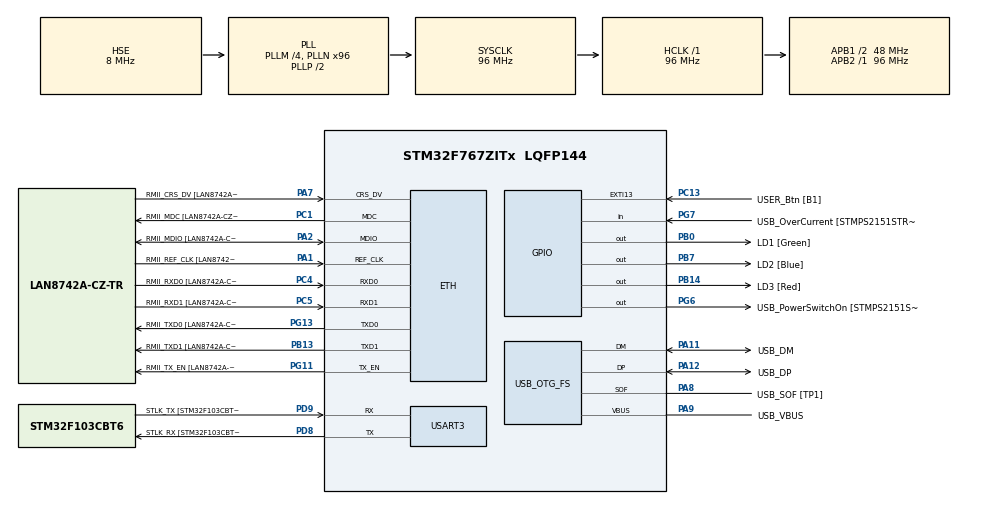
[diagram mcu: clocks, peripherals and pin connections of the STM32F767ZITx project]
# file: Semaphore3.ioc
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ETH.MediaInterface=HAL_ETH_RMII_MODE
ETH.PHY_Name=LAN8742A_PHY_ADDRESS
ETH.PHY_Value=0
ETH.PhyAddress=0
FREERTOS.CountingSemaphores01=myCountingSem01,2,Dynamic,NULL,2
FREERTOS.Tasks01=defaultTask,24,128,StartDefaultTask,Default,NULL,Dynamic,NULL,NULL;myTask02,24,128,StartTask02,Default,NULL,Dynamic,NULL,NULL;myTask03,24,128,StartTask03,Default,NULL,Dynamic,NULL,NULL
FREERTOS.configUSE_NEWLIB_REENTRANT=1
Mcu.Family=STM32F7
Mcu.Name=STM32F767ZITx
Mcu.Package=LQFP144
NVIC.PriorityGroup=NVIC_PRIORITYGROUP_4
NVIC.TIM6_DAC_IRQn=true\:15\:0\:false\:false\:true\:false\:false\:true\:true
NVIC.TimeBase=TIM6_DAC_IRQn
NVIC.TimeBaseIP=TIM6
PA1.GPIO_Label=RMII_REF_CLK [LAN8742A-CZ-TR_REFCLK0]
PA1.Mode=RMII
PA1.Signal=ETH_REF_CLK
PA10.GPIO_Label=USB_ID
PA10.Signal=USB_OTG_FS_ID
PA11.GPIO_Label=USB_DM
PA11.Mode=Device_Only
PA11.Signal=USB_OTG_FS_DM
PA12.GPIO_Label=USB_DP
PA12.Mode=Device_Only
PA12.Signal=USB_OTG_FS_DP
PA13.GPIO_Label=TMS
PA13.Mode=Serial_Wire
PA13.Signal=SYS_JTMS-SWDIO
PA14.GPIO_Label=TCK
PA14.Mode=Serial_Wire
PA14.Signal=SYS_JTCK-SWCLK
PA2.GPIO_Label=RMII_MDIO [LAN8742A-CZ-TR_MDIO]
PA2.Mode=RMII
PA2.Signal=ETH_MDIO
PA7.GPIO_Label=RMII_CRS_DV [LAN8742A-CZ-TR_CRS_DV]
PA7.Mode=RMII
PA7.Signal=ETH_CRS_DV
PA8.GPIO_Label=USB_SOF [TP1]
PA8.Mode=Activate_SOF_FS
PA8.Signal=USB_OTG_FS_SOF
PA9.GPIO_Label=USB_VBUS
PA9.Mode=Activate_VBUS
PA9.Signal=USB_OTG_FS_VBUS
PB0.GPIO_Label=LD1 [Green]
PB0.Signal=GPIO_Output
PB13.GPIO_Label=RMII_TXD1 [LAN8742A-CZ-TR_TXD1]
PB13.Mode=RMII
PB13.Signal=ETH_TXD1
PB14.GPIO_Label=LD3 [Red]
PB14.Signal=GPIO_Output
PB3.GPIO_Label=SWO
PB3.Signal=SYS_JTDO-SWO
PB7.GPIO_Label=LD2 [Blue]
PB7.Signal=GPIO_Output
PC1.GPIO_Label=RMII_MDC [LAN8742A-CZ-TR_MDC]
PC1.Mode=RMII
PC1.Signal=ETH_MDC
PC13.GPIO_Label=USER_Btn [B1]
PC13.Signal=GPXTI13
PC14/OSC32_IN.Mode=LSE-External-Oscillator
PC14/OSC32_IN.Signal=RCC_OSC32_IN
PC15/OSC32_OUT.Mode=LSE-External-Oscillator
PC15/OSC32_OUT.Signal=RCC_OSC32_OUT
PC4.GPIO_Label=RMII_RXD0 [LAN8742A-CZ-TR_RXD0]
PC4.Mode=RMII
PC4.Signal=ETH_RXD0
PC5.GPIO_Label=RMII_RXD1 [LAN8742A-CZ-TR_RXD1]
PC5.Mode=RMII
PC5.Signal=ETH_RXD1
PD8.GPIO_Label=STLK_RX [STM32F103CBT6_PA3]
PD8.Mode=Asynchronous
PD8.Signal=USART3_TX
PD9.GPIO_Label=STLK_TX [STM32F103CBT6_PA2]
PD9.Mode=Asynchronous
PD9.Signal=USART3_RX
PG11.GPIO_Label=RMII_TX_EN [LAN8742A-CZ-TR_TXEN]
PG11.Mode=RMII
PG11.Signal=ETH_TX_EN
PG13.GPIO_Label=RMII_TXD0 [LAN8742A-CZ-TR_TXD0]
PG13.Mode=RMII
PG13.Signal=ETH_TXD0
PG6.GPIO_Label=USB_PowerSwitchOn [STMPS2151STR_EN]
PG6.Signal=GPIO_Output
PG7.GPIO_Label=USB_OverCurrent [STMPS2151STR_FAULT]
PG7.Signal=GPIO_Input
PH0/OSC_IN.GPIO_Label=MCO [STM32F103CBT6_PA8]
PH0/OSC_IN.Mode=HSE-External-Clock-Source
PH0/OSC_IN.Signal=RCC_OSC_IN
PH1/OSC_OUT.Mode=HSE-External-Clock-Source
PH1/OSC_OUT.Signal=RCC_OSC_OUT
ProjectManager.HeapSize=0x200
ProjectManager.StackSize=0x400
ProjectManager.TargetToolchain=STM32CubeIDE
RCC.48MHZClocksFreq_Value=24000000
RCC.AHBFreq_Value=96000000
RCC.APB1CLKDivider=RCC_HCLK_DIV2
RCC.APB1Freq_Value=48000000
RCC.APB1TimFreq_Value=96000000
RCC.APB2Freq_Value=96000000
RCC.APB2TimFreq_Value=96000000
RCC.CortexFreq_Value=96000000
RCC.HCLKFreq_Value=96000000
RCC.HSE_VALUE=8000000
RCC.HSI_VALUE=16000000
RCC.PLLM=4
RCC.PLLMUL=RCC_PLL_MUL9
RCC.PLLN=96
RCC.PLLQ=4
RCC.PRESCALERUSB=RCC_USBCLKSOURCE_PLL_DIV1_5
RCC.SYSCLKFreq_VALUE=96000000
RCC.SYSCLKSource=RCC_SYSCLKSOURCE_PLLCLK
RCC.SYSCLKSourceVirtual=RCC_SYSCLKSOURCE_PLLCLK
RCC.USBFreq_Value=48000000
RCC.VCOOutputFreq_Value=192000000
USART3.VirtualMode-Asynchronous=VM_ASYNC
USB_OTG_FS.VirtualMode=Device_Only
VP_FREERTOS_VS_CMSIS_V2.Mode=CMSIS_V2
VP_SYS_VS_tim6.Mode=TIM6
board=NUCLEO-F767ZI

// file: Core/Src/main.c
/* USER CODE BEGIN Header */
/**
  ******************************************************************************
  * @file           : main.c
  * @brief          : Main program body
  ******************************************************************************
  * @attention
  *
  * Copyright (c) 2025 STMicroelectronics.
  * All rights reserved.
  *
  * This software is licensed under terms that can be found in the LICENSE file
  * in the root directory of this software component.
  * If no LICENSE file comes with this software, it is provided AS-IS.
  *
  ******************************************************************************
  */
/* USER CODE END Header */
#include "main.h"
#include "string.h"
#include "cmsis_os.h"

#if defined ( __ICCARM__ ) /*!< IAR Compiler */
#pragma location=0x2007c000
ETH_DMADescTypeDef  DMARxDscrTab[ETH_RX_DESC_CNT]; /* Ethernet Rx DMA Descriptors */
#pragma location=0x2007c0a0
ETH_DMADescTypeDef  DMATxDscrTab[ETH_TX_DESC_CNT]; /* Ethernet Tx DMA Descriptors */

#elif defined ( __CC_ARM )  /* MDK ARM Compiler */

__attribute__((at(0x2007c000))) ETH_DMADescTypeDef  DMARxDscrTab[ETH_RX_DESC_CNT]; /* Ethernet Rx DMA Descriptors */
__attribute__((at(0x2007c0a0))) ETH_DMADescTypeDef  DMATxDscrTab[ETH_TX_DESC_CNT]; /* Ethernet Tx DMA Descriptors */

#elif defined ( __GNUC__ ) /* GNU Compiler */

ETH_DMADescTypeDef DMARxDscrTab[ETH_RX_DESC_CNT] __attribute__((section(".RxDecripSection"))); /* Ethernet Rx DMA Descriptors */
ETH_DMADescTypeDef DMATxDscrTab[ETH_TX_DESC_CNT] __attribute__((section(".TxDecripSection")));   /* Ethernet Tx DMA Descriptors */
#endif

ETH_TxPacketConfig TxConfig;

ETH_HandleTypeDef heth;

UART_HandleTypeDef huart3;

PCD_HandleTypeDef hpcd_USB_OTG_FS;

/* Definitions for defaultTask */
osThreadId_t defaultTaskHandle;
const osThreadAttr_t defaultTask_attributes = {
  .name = "defaultTask",
  .stack_size = 128 * 4,
  .priority = (osPriority_t) osPriorityNormal,
};
/* Definitions for myTask02 */
osThreadId_t myTask02Handle;
const osThreadAttr_t myTask02_attributes = {
  .name = "myTask02",
  .stack_size = 128 * 4,
  .priority = (osPriority_t) osPriorityNormal,
};
/* Definitions for myTask03 */
osThreadId_t myTask03Handle;
const osThreadAttr_t myTask03_attributes = {
  .name = "myTask03",
  .stack_size = 128 * 4,
  .priority = (osPriority_t) osPriorityNormal,
};
/* Definitions for myCountingSem01 */
osSemaphoreId_t myCountingSem01Handle;
const osSemaphoreAttr_t myCountingSem01_attributes = {
  .name = "myCountingSem01"
};

void SystemClock_Config(void);
static void MX_GPIO_Init(void);
static void MX_ETH_Init(void);
static void MX_USART3_UART_Init(void);
static void MX_USB_OTG_FS_PCD_Init(void);
void StartDefaultTask(void *argument);
void StartTask02(void *argument);
void StartTask03(void *argument);

int main(void)
{

  /* MCU Configuration--------------------------------------------------------*/

  /* Reset of all peripherals, Initializes the Flash interface and the Systick. */
  HAL_Init();

  /* Configure the system clock */
  SystemClock_Config();

  /* Initialize all configured peripherals */
  MX_GPIO_Init();
  MX_ETH_Init();
  MX_USART3_UART_Init();
  MX_USB_OTG_FS_PCD_Init();

  /* Init scheduler */
  osKernelInitialize();

  /* Create the semaphores(s) */
  /* creation of myCountingSem01 */
  myCountingSem01Handle = osSemaphoreNew(2, 0, &myCountingSem01_attributes);

  /* Create the thread(s) */
  /* creation of defaultTask */
  defaultTaskHandle = osThreadNew(StartDefaultTask, NULL, &defaultTask_attributes);

  /* creation of myTask02 */
  myTask02Handle = osThreadNew(StartTask02, NULL, &myTask02_attributes);

  /* creation of myTask03 */
  myTask03Handle = osThreadNew(StartTask03, NULL, &myTask03_attributes);

  /* Start scheduler */
  osKernelStart();

  /* We should never get here as control is now taken by the scheduler */

  /* Infinite loop */
  while (1)
  {

  }
}

void SystemClock_Config(void)
{
  RCC_OscInitTypeDef RCC_OscInitStruct = {0};
  RCC_ClkInitTypeDef RCC_ClkInitStruct = {0};

  /** Configure LSE Drive Capability
  */
  HAL_PWR_EnableBkUpAccess();

  /** Configure the main internal regulator output voltage
  */
  __HAL_RCC_PWR_CLK_ENABLE();
  __HAL_PWR_VOLTAGESCALING_CONFIG(PWR_REGULATOR_VOLTAGE_SCALE3);

  /** Initializes the RCC Oscillators according to the specified parameters
  * in the RCC_OscInitTypeDef structure.
  */
  RCC_OscInitStruct.OscillatorType = RCC_OSCILLATORTYPE_HSE;
  RCC_OscInitStruct.HSEState = RCC_HSE_BYPASS;
  RCC_OscInitStruct.PLL.PLLState = RCC_PLL_ON;
  RCC_OscInitStruct.PLL.PLLSource = RCC_PLLSOURCE_HSE;
  RCC_OscInitStruct.PLL.PLLM = 4;
  RCC_OscInitStruct.PLL.PLLN = 96;
  RCC_OscInitStruct.PLL.PLLP = RCC_PLLP_DIV2;
  RCC_OscInitStruct.PLL.PLLQ = 4;
  RCC_OscInitStruct.PLL.PLLR = 2;
  if (HAL_RCC_OscConfig(&RCC_OscInitStruct) != HAL_OK)
  {
    Error_Handler();
  }

  /** Activate the Over-Drive mode
  */
  if (HAL_PWREx_EnableOverDrive() != HAL_OK)
  {
    Error_Handler();
  }

  /** Initializes the CPU, AHB and APB buses clocks
  */
  RCC_ClkInitStruct.ClockType = RCC_CLOCKTYPE_HCLK|RCC_CLOCKTYPE_SYSCLK
                              |RCC_CLOCKTYPE_PCLK1|RCC_CLOCKTYPE_PCLK2;
  RCC_ClkInitStruct.SYSCLKSource = RCC_SYSCLKSOURCE_PLLCLK;
  RCC_ClkInitStruct.AHBCLKDivider = RCC_SYSCLK_DIV1;
  RCC_ClkInitStruct.APB1CLKDivider = RCC_HCLK_DIV2;
  RCC_ClkInitStruct.APB2CLKDivider = RCC_HCLK_DIV1;

  if (HAL_RCC_ClockConfig(&RCC_ClkInitStruct, FLASH_LATENCY_3) != HAL_OK)
  {
    Error_Handler();
  }
}

static void MX_ETH_Init(void)
{

   static uint8_t MACAddr[6];

  heth.Instance = ETH;
  MACAddr[0] = 0x00;
  MACAddr[1] = 0x80;
  MACAddr[2] = 0xE1;
  MACAddr[3] = 0x00;
  MACAddr[4] = 0x00;
  MACAddr[5] = 0x00;
  heth.Init.MACAddr = &MACAddr[0];
  heth.Init.MediaInterface = HAL_ETH_RMII_MODE;
  heth.Init.TxDesc = DMATxDscrTab;
  heth.Init.RxDesc = DMARxDscrTab;
  heth.Init.RxBuffLen = 1524;

  if (HAL_ETH_Init(&heth) != HAL_OK)
  {
    Error_Handler();
  }

  memset(&TxConfig, 0 , sizeof(ETH_TxPacketConfig));
  TxConfig.Attributes = ETH_TX_PACKETS_FEATURES_CSUM | ETH_TX_PACKETS_FEATURES_CRCPAD;
  TxConfig.ChecksumCtrl = ETH_CHECKSUM_IPHDR_PAYLOAD_INSERT_PHDR_CALC;
  TxConfig.CRCPadCtrl = ETH_CRC_PAD_INSERT;

}

static void MX_USART3_UART_Init(void)
{

  huart3.Instance = USART3;
  huart3.Init.BaudRate = 115200;
  huart3.Init.WordLength = UART_WORDLENGTH_8B;
  huart3.Init.StopBits = UART_STOPBITS_1;
  huart3.Init.Parity = UART_PARITY_NONE;
  huart3.Init.Mode = UART_MODE_TX_RX;
  huart3.Init.HwFlowCtl = UART_HWCONTROL_NONE;
  huart3.Init.OverSampling = UART_OVERSAMPLING_16;
  huart3.Init.OneBitSampling = UART_ONE_BIT_SAMPLE_DISABLE;
  huart3.AdvancedInit.AdvFeatureInit = UART_ADVFEATURE_NO_INIT;
  if (HAL_UART_Init(&huart3) != HAL_OK)
  {
    Error_Handler();
  }

}

static void MX_USB_OTG_FS_PCD_Init(void)
{

  hpcd_USB_OTG_FS.Instance = USB_OTG_FS;
  hpcd_USB_OTG_FS.Init.dev_endpoints = 6;
  hpcd_USB_OTG_FS.Init.speed = PCD_SPEED_FULL;
  hpcd_USB_OTG_FS.Init.dma_enable = DISABLE;
  hpcd_USB_OTG_FS.Init.phy_itface = PCD_PHY_EMBEDDED;
  hpcd_USB_OTG_FS.Init.Sof_enable = ENABLE;
  hpcd_USB_OTG_FS.Init.low_power_enable = DISABLE;
  hpcd_USB_OTG_FS.Init.lpm_enable = DISABLE;
  hpcd_USB_OTG_FS.Init.vbus_sensing_enable = ENABLE;
  hpcd_USB_OTG_FS.Init.use_dedicated_ep1 = DISABLE;
  if (HAL_PCD_Init(&hpcd_USB_OTG_FS) != HAL_OK)
  {
    Error_Handler();
  }

}

static void MX_GPIO_Init(void)
{
  GPIO_InitTypeDef GPIO_InitStruct = {0};

  /* GPIO Ports Clock Enable */
  __HAL_RCC_GPIOC_CLK_ENABLE();
  __HAL_RCC_GPIOH_CLK_ENABLE();
  __HAL_RCC_GPIOA_CLK_ENABLE();
  __HAL_RCC_GPIOB_CLK_ENABLE();
  __HAL_RCC_GPIOD_CLK_ENABLE();
  __HAL_RCC_GPIOG_CLK_ENABLE();

  /*Configure GPIO pin Output Level */
  HAL_GPIO_WritePin(GPIOB, LD1_Pin|LD3_Pin|LD2_Pin, GPIO_PIN_RESET);

  /*Configure GPIO pin Output Level */
  HAL_GPIO_WritePin(USB_PowerSwitchOn_GPIO_Port, USB_PowerSwitchOn_Pin, GPIO_PIN_RESET);

  /*Configure GPIO pin : USER_Btn_Pin */
  GPIO_InitStruct.Pin = USER_Btn_Pin;
  GPIO_InitStruct.Mode = GPIO_MODE_IT_RISING;
  GPIO_InitStruct.Pull = GPIO_NOPULL;
  HAL_GPIO_Init(USER_Btn_GPIO_Port, &GPIO_InitStruct);

  /*Configure GPIO pins : LD1_Pin LD3_Pin LD2_Pin */
  GPIO_InitStruct.Pin = LD1_Pin|LD3_Pin|LD2_Pin;
  GPIO_InitStruct.Mode = GPIO_MODE_OUTPUT_PP;
  GPIO_InitStruct.Pull = GPIO_NOPULL;
  GPIO_InitStruct.Speed = GPIO_SPEED_FREQ_LOW;
  HAL_GPIO_Init(GPIOB, &GPIO_InitStruct);

  /*Configure GPIO pin : USB_PowerSwitchOn_Pin */
  GPIO_InitStruct.Pin = USB_PowerSwitchOn_Pin;
  GPIO_InitStruct.Mode = GPIO_MODE_OUTPUT_PP;
  GPIO_InitStruct.Pull = GPIO_NOPULL;
  GPIO_InitStruct.Speed = GPIO_SPEED_FREQ_LOW;
  HAL_GPIO_Init(USB_PowerSwitchOn_GPIO_Port, &GPIO_InitStruct);

  /*Configure GPIO pin : USB_OverCurrent_Pin */
  GPIO_InitStruct.Pin = USB_OverCurrent_Pin;
  GPIO_InitStruct.Mode = GPIO_MODE_INPUT;
  GPIO_InitStruct.Pull = GPIO_NOPULL;
  HAL_GPIO_Init(USB_OverCurrent_GPIO_Port, &GPIO_InitStruct);

}

void StartDefaultTask(void *argument)
{
  /* USER CODE BEGIN 5 */
	char buf[64];
  /* Infinite loop */
  for(;;)
  {
	  snprintf(buf, sizeof(buf), "T1: Verifying Resources: %d \r\n", osSemaphoreGetCount(myCountingSem01Handle));
	  HAL_UART_Transmit(&huart3, (uint8_t*)buf, strlen(buf), HAL_MAX_DELAY);

	  if(osSemaphoreGetCount(myCountingSem01Handle) == 0){
		  osSemaphoreRelease(myCountingSem01Handle);
		  snprintf(buf, sizeof(buf), "T1: After Resource free: %d \r\n", osSemaphoreGetCount(myCountingSem01Handle));
		  HAL_UART_Transmit(&huart3, (uint8_t*)buf, strlen(buf), HAL_MAX_DELAY);

		  osSemaphoreAcquire(myCountingSem01Handle, osWaitForever);

		  snprintf(buf, sizeof(buf), "T1: Resource Obtained: %d \r\n", osSemaphoreGetCount(myCountingSem01Handle));
		  HAL_UART_Transmit(&huart3, (uint8_t*)buf, strlen(buf), HAL_MAX_DELAY);

		  osDelay(1000);
	  }
  }
  /* USER CODE END 5 */
}

void StartTask02(void *argument)
{
  /* USER CODE BEGIN StartTask02 */
	char buf[64];
  /* Infinite loop */
  for(;;)
  {
	  snprintf(buf, sizeof(buf), "T2: Verifying Resources: %d \r\n", osSemaphoreGetCount(myCountingSem01Handle));
	  HAL_UART_Transmit(&huart3, (uint8_t*)buf, strlen(buf), HAL_MAX_DELAY);

	  if(osSemaphoreGetCount(myCountingSem01Handle) == 0){
		  osSemaphoreRelease(myCountingSem01Handle);
		  snprintf(buf, sizeof(buf), "T2: After Resource free: %d \r\n", osSemaphoreGetCount(myCountingSem01Handle));
		  HAL_UART_Transmit(&huart3, (uint8_t*)buf, strlen(buf), HAL_MAX_DELAY);

		  osSemaphoreAcquire(myCountingSem01Handle, osWaitForever);

		  snprintf(buf, sizeof(buf), "T2: Resource Obtained: %d \r\n", osSemaphoreGetCount(myCountingSem01Handle));
		  HAL_UART_Transmit(&huart3, (uint8_t*)buf, strlen(buf), HAL_MAX_DELAY);

		  osDelay(1000);
	  }
  }
  /* USER CODE END StartTask02 */
}

void StartTask03(void *argument)
{
  /* USER CODE BEGIN StartTask03 */
	char buf[64];
  /* Infinite loop */
  for(;;)
  {
	  snprintf(buf, sizeof(buf), "T3: Verifying Resources: %d \r\n", osSemaphoreGetCount(myCountingSem01Handle));
	  HAL_UART_Transmit(&huart3, (uint8_t*)buf, strlen(buf), HAL_MAX_DELAY);

	  if(osSemaphoreGetCount(myCountingSem01Handle) == 0){
		  osSemaphoreRelease(myCountingSem01Handle);
		  snprintf(buf, sizeof(buf), "T3: After Resource free: %d \r\n", osSemaphoreGetCount(myCountingSem01Handle));
		  HAL_UART_Transmit(&huart3, (uint8_t*)buf, strlen(buf), HAL_MAX_DELAY);

		  osSemaphoreAcquire(myCountingSem01Handle, osWaitForever);

		  snprintf(buf, sizeof(buf), "T3: Resource Obtained: %d \r\n", osSemaphoreGetCount(myCountingSem01Handle));
		  HAL_UART_Transmit(&huart3, (uint8_t*)buf, strlen(buf), HAL_MAX_DELAY);

		  osDelay(500);
	  }
  }
  /* USER CODE END StartTask03 */
}

void HAL_TIM_PeriodElapsedCallback(TIM_HandleTypeDef *htim)
{
  if (htim->Instance == TIM6) {
    HAL_IncTick();
  }
}

void Error_Handler(void)
{
  __disable_irq();
  while (1)
  {
  }
}
